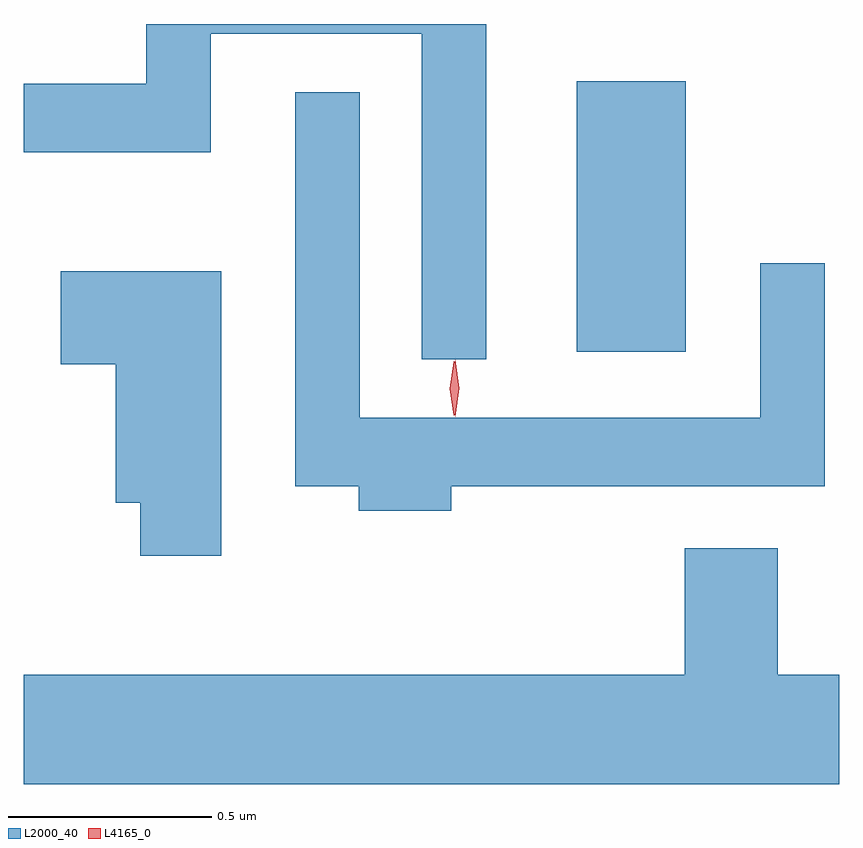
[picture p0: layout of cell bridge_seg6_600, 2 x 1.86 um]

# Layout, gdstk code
import gdstk
lib = gdstk.Library(unit=1e-6, precision=1e-09)
def R(c, l, rs):  # rectangles x0, y0, x1, y1
    for r in rs: c.add(gdstk.rectangle(r[:2], r[2:], *l))
def P(c, l, *ps):  # polygons
    for p in ps: c.add(gdstk.Polygon(p, *l))
L2000_40 = (2000, 40)
L4165_0 = (4165, 0)

bridge_seg6_600 = lib.new_cell('bridge_seg6_600')
R(bridge_seg6_600, L2000_40, [(413.206,1637.676,413.474,1638.339)])
P(bridge_seg6_600, L2000_40, [(412.984,1638.48),(412.151,1638.48),(412.151,1638.334),(411.85,1638.334),(411.85,1638.166),(412.309,1638.166),(412.309,1638.456),(412.826,1638.456),(412.826,1637.658),(412.984,1637.658)],
  [(412.899,1637.346),(413.814,1637.346),(413.814,1637.893),(413.656,1637.893),(413.656,1637.514),(412.674,1637.514),(412.674,1638.313),(412.516,1638.313),(412.516,1637.346),(412.671,1637.346),(412.671,1637.286),(412.899,1637.286)],
  [(412.334,1637.874),(411.941,1637.874),(411.941,1637.646),(412.076,1637.646),(412.076,1637.306),(412.136,1637.306),(412.136,1637.176),(412.334,1637.176)],
  [(413.85,1636.884),(413.699,1636.884),(413.699,1637.194),(413.471,1637.194),(413.471,1636.884),(411.85,1636.884),(411.85,1636.616),(413.85,1636.616)])
P(bridge_seg6_600, L4165_0, [(412.905,1637.52),(412.905,1637.52),(412.895,1637.586),(412.905,1637.652),(412.905,1637.653),(412.906,1637.652),(412.915,1637.586),(412.906,1637.52)],
  [(412.908,1637.517),(412.908,1637.517),(412.898,1637.587),(412.908,1637.656),(412.908,1637.656),(412.908,1637.656),(412.918,1637.587),(412.908,1637.517)])

lib.write_gds('bridge_seg6_600.gds')
